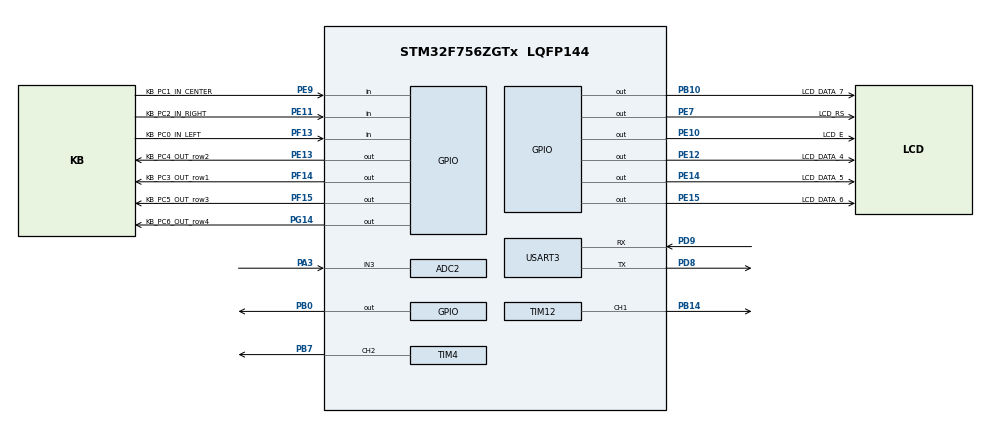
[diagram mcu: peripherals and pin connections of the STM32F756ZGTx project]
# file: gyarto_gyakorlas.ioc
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ADC1.Channel-0\#ChannelRegularConversion=ADC_CHANNEL_TEMPSENSOR
ADC1.NbrOfConversionFlag=1
ADC1.Rank-0\#ChannelRegularConversion=1
ADC1.SamplingTime-0\#ChannelRegularConversion=ADC_SAMPLETIME_3CYCLES
ADC1.master=1
ADC2.Channel-0\#ChannelRegularConversion=ADC_CHANNEL_3
ADC2.NbrOfConversionFlag=1
ADC2.Rank-0\#ChannelRegularConversion=1
ADC2.SamplingTime-0\#ChannelRegularConversion=ADC_SAMPLETIME_3CYCLES
Mcu.Family=STM32F7
Mcu.Name=STM32F756ZGTx
Mcu.Package=LQFP144
NVIC.PriorityGroup=NVIC_PRIORITYGROUP_4
NVIC.TIM4_IRQn=true\:0\:0\:false\:false\:true\:true\:true
NVIC.TIM8_BRK_TIM12_IRQn=true\:0\:0\:false\:false\:true\:true\:true
NVIC.USART3_IRQn=true\:0\:0\:false\:false\:true\:true\:true
PA3.Signal=ADCx_IN3
PB0.Signal=GPIO_Output
PB10.GPIO_Label=LCD_DATA_7
PB10.Signal=GPIO_Output
PB14.Signal=S_TIM12_CH1
PB7.Signal=S_TIM4_CH2
PD8.Mode=Asynchronous
PD8.Signal=USART3_TX
PD9.Mode=Asynchronous
PD9.Signal=USART3_RX
PE10.GPIO_Label=LCD_E
PE10.Signal=GPIO_Output
PE11.GPIO_Label=KB_PC2_IN_RIGHT
PE11.Signal=GPIO_Input
PE12.GPIO_Label=LCD_DATA_4
PE12.Signal=GPIO_Output
PE13.GPIO_Label=KB_PC4_OUT_row2
PE13.Signal=GPIO_Output
PE14.GPIO_Label=LCD_DATA_5
PE14.Signal=GPIO_Output
PE15.GPIO_Label=LCD_DATA_6
PE15.Signal=GPIO_Output
PE7.GPIO_Label=LCD_RS
PE7.Signal=GPIO_Output
PE9.GPIO_Label=KB_PC1_IN_CENTER
PE9.Signal=GPIO_Input
PF13.GPIO_Label=KB_PC0_IN_LEFT
PF13.Signal=GPIO_Input
PF14.GPIO_Label=KB_PC3_OUT_row1
PF14.Signal=GPIO_Output
PF15.GPIO_Label=KB_PC5_OUT_row3
PF15.Signal=GPIO_Output
PG14.GPIO_Label=KB_PC6_OUT_row4
PG14.Signal=GPIO_Output
ProjectManager.HeapSize=0x200
ProjectManager.StackSize=0x400
ProjectManager.TargetToolchain=TrueSTUDIO
RCC.HSE_VALUE=25000000
RCC.HSI_VALUE=16000000
RCC.LSE_VALUE=32768
RCC.USBFreq_Value=96000000
RCC.VCOOutputFreq_Value=192000000
SH.ADCx_IN3.0=ADC2_IN3,IN3
SH.S_TIM12_CH1.0=TIM12_CH1,PWM Generation1 CH1
SH.S_TIM4_CH2.0=TIM4_CH2,PWM Generation2 CH2
TIM12.Channel-PWM\ Generation1\ CH1=TIM_CHANNEL_1
TIM12.Period=100
TIM12.Prescaler=15
TIM12.Pulse-PWM\ Generation1\ CH1=5
TIM4.Channel-PWM\ Generation2\ CH2=TIM_CHANNEL_2
TIM4.Period=100
TIM4.Prescaler=15
TIM4.Pulse-PWM\ Generation2\ CH2=5
USART3.VirtualMode-Asynchronous=VM_ASYNC
VP_ADC1_TempSens_Input.Mode=IN-TempSens
board=custom

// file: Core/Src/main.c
/* USER CODE BEGIN Header */
/**
  ******************************************************************************
  * @file           : main.c
  * @brief          : Main program body
  ******************************************************************************
  * @attention
  *
  * <h2><center>&copy; Copyright (c) 2021 STMicroelectronics.
  * All rights reserved.</center></h2>
  *
  * This software component is licensed by ST under BSD 3-Clause license,
  * the "License"; You may not use this file except in compliance with the
  * License. You may obtain a copy of the License at:
  *                        opensource.org/licenses/BSD-3-Clause
  *
  ******************************************************************************
  */
/* USER CODE END Header */
#include "main.h"

/* USER CODE BEGIN Includes */
#include "lcd.h"
#include "matrix.h"
#include "String.h"
//#include "code.h"
/* USER CODE END Includes */

ADC_HandleTypeDef hadc1;
ADC_HandleTypeDef hadc2;

TIM_HandleTypeDef htim4;
TIM_HandleTypeDef htim12;

UART_HandleTypeDef huart3;

/* USER CODE BEGIN PV */

uint32_t v_adc_ch3 = 0;
double temp = 0;
uint32_t adc1_reg=0;
uint8_t egesz=1;
uint8_t valami=1;
uint16_t cnt=0;
uint32_t adc_data_reg;
uint8_t state = 0;
uint8_t tmp_state = 0;
uint8_t duty = 0;
uint8_t irany = 0;
extern uint8_t fogad=0;
uint8_t letilt =0;

char row1_string[14];
char row2_string[14];
char row3_string[14];
char row4_string[14];
char text[] = "PROGRAM Active OFF – A_OFF \n\r Program Deactive OFF – D_OFF " ;
char str[20];
uint8_t ind = 0;
uint8_t active_off=0;

/* USER CODE END PV */

void SystemClock_Config(void);
static void MX_GPIO_Init(void);
static void MX_TIM4_Init(void);
static void MX_TIM12_Init(void);
static void MX_ADC1_Init(void);
static void MX_ADC2_Init(void);
static void MX_USART3_UART_Init(void);
/* USER CODE BEGIN PFP */
void lcd_jelzes(char szoveg[])
{
	strcpy(row4_string, row3_string);
	strcpy(row3_string, row2_string);
	strcpy(row2_string, row1_string);
	strcpy(row1_string, szoveg);

	LCD_xy(0,4); LCD_string(row1_string);
	LCD_xy(0,3); LCD_string(row2_string);
	LCD_xy(0,2); LCD_string(row3_string);
	LCD_xy(0,1); LCD_string(row4_string);

}

void read_matrix(void){

	matrix_search();

	uint8_t key=get_key();

	if(key==10){ letilt=1; HAL_UART_Transmit(&huart3, text, sizeof(text), 20);
				HAL_UART_Receive_IT(&huart3, &fogad, 1);
	}

	if(active_off){
		if ((key==8) && (tmp_state!=8)){
			state,tmp_state = 8 ;
			__HAL_TIM_SET_COMPARE(&htim12, TIM_CHANNEL_1, 40); lcd_jelzes("On       ");
			HAL_UART_Transmit(&huart3, "8", sizeof("8"), 20);
		}
		return;
	}

	if(!letilt){
		switch(key){
			case 1: state = 1; duty=20; __HAL_TIM_SET_COMPARE(&htim12, TIM_CHANNEL_1, duty); lcd_jelzes("OFF    ");
					HAL_UART_Transmit(&huart3, "1", sizeof("1"), 20);
			break;
			case 2: state = 2 ; lcd_jelzes("Connecting  ");
					HAL_UART_Transmit(&huart3, "2", sizeof("2"), 20);
			break;
			case 3: state = 3 ; lcd_jelzes("Normal    ");
				HAL_UART_Transmit(&huart3, "3", sizeof("3"), 20);
			break;
			case 4: state = 4; __HAL_TIM_SET_COMPARE(&htim12, TIM_CHANNEL_1, 5); lcd_jelzes("5%     ");
					HAL_UART_Transmit(&huart3, "4", sizeof("4"), 20);
			break;
			case 5: state = 5; __HAL_TIM_SET_COMPARE(&htim12, TIM_CHANNEL_1, 50); lcd_jelzes("50%     ");
					HAL_UART_Transmit(&huart3, "5", sizeof("5"), 20);
			break;
			case 6: state = 6; __HAL_TIM_SET_COMPARE(&htim12, TIM_CHANNEL_1, 98); lcd_jelzes("98%     ");
					HAL_UART_Transmit(&huart3, "6", sizeof("6"), 20);
			break;
			case 7: state = 7;  __HAL_TIM_SET_COMPARE(&htim12, TIM_CHANNEL_1, 50); lcd_jelzes("Danger    ");
					HAL_UART_Transmit(&huart3, "7", sizeof("7"), 20);
			break;
			case 8: state = 8; __HAL_TIM_SET_COMPARE(&htim12, TIM_CHANNEL_1, 40); lcd_jelzes("On       ");
					HAL_UART_Transmit(&huart3, "8", sizeof("8"), 20);
			break;
		}

		if(state){
			tmp_state = state; state = 0;
		}
	}

}

void HAL_TIM_PeriodElapsedCallback(TIM_HandleTypeDef *htim)
{
	//HAL_ADC_Start(&hadc2); //adc conv start
	if(cnt==5000) // 500ms
	{
		switch(tmp_state)
		{
			case 1:
					if(duty)duty=duty-10;

					__HAL_TIM_SET_COMPARE(&htim12, TIM_CHANNEL_1, duty);

				break;
			//case 7: state = 7;  __HAL_TIM_SET_COMPARE(&htim12, TIM_CHANNEL_1, 50);;break;
			case 8:
				if (duty<100){
					__HAL_TIM_SET_COMPARE(&htim12, TIM_CHANNEL_1, duty);
					duty+=10;
			}
				;break;

		}

		if(tmp_state == 3)
				{
					__HAL_TIM_SET_COMPARE(&htim12, TIM_CHANNEL_1, duty);
					if(duty) duty = 0;
					else duty = 100;
				}
		cnt = 0;
	}
	// state 2 100ms
	if ((cnt % 1000) == 0)
	{
		if(tmp_state == 2)
		{
			__HAL_TIM_SET_COMPARE(&htim12, TIM_CHANNEL_1, duty);
			if(duty) duty = 0;
			else duty = 100;
		}
		// danger
		if (tmp_state==7)
		{
			if (irany) duty+=10;
			else duty-=10;

			if(duty==100) irany=0;
			if(duty==0) irany=1;

			__HAL_TIM_SET_COMPARE(&htim12, TIM_CHANNEL_1, duty);
		}
	}
	cnt++;

}

void HAL_UART_RxCpltCallback(UART_HandleTypeDef *huart)
{
	//HAL_UART_Receive_IT(&huart3, &fogad, 1);

	if(fogad==13){
		if( strcmp(str, "")==0 ){
			letilt = 0;
			ind = 0;

			/*for(int k=0; k<=19; k++){
				str[k]=0;
			} */
		}
		else{
			if(strcmp(str, "A_OFF")==0) {active_off=1; ind=0;}
			else {
				if(strcmp(str, "D_OFF")==0){
					active_off=0;
					letilt = 0;
					ind = 0;

					/*for(int k=0; k<=19; k++){
						str[k]=0;
					}*/
				}
			}
		}
	}
	else {
		str[ind] = fogad;
		ind++;
	}

	HAL_UART_Receive_IT(&huart3, &fogad, 1);
	//HAL_UART_Transmit_IT(huart, &fogad, 1);
}

/* USER CODE END PFP */

int main(void)
{

  /* MCU Configuration--------------------------------------------------------*/

  /* Reset of all peripherals, Initializes the Flash interface and the Systick. */
  HAL_Init();

  /* Configure the system clock */
  SystemClock_Config();

  /* Initialize all configured peripherals */
  MX_GPIO_Init();
  MX_TIM4_Init();
  MX_TIM12_Init();
  MX_ADC1_Init();
  MX_ADC2_Init();
  MX_USART3_UART_Init();
  /* USER CODE BEGIN 2 */
  HAL_TIM_PWM_Start_IT(&htim12, TIM_CHANNEL_1);
  //HAL_TIM_PWM_Start_IT(&htim4, TIM_CHANNEL_2);
  HAL_TIM_Base_Start_IT(&htim4);
  HAL_UART_Receive_IT(&huart3, &fogad, 1);
  HAL_ADC_Start(&hadc2);
  LCD_init();
  LCD_cmd(0x01);
  LCD_cmd(0x80);
  //LCD_xy(4,1);
  //LCD_string("hello grg");
  //uint8_t matrix_k=0;
  LCD_string("!");
  //HAL_GPIO_WritePin(GPIOB, GPIO_PIN_7, GPIO_PIN_SET);
  //HAL_GPIO_WritePin(LED_R_GPIO_Port, LED_R_Pin, GPIO_PIN_SET);
  /* USER CODE END 2 */

  /* Infinite loop */
  /* USER CODE BEGIN WHILE */
  while (1)
  {
	  read_matrix();

    /* USER CODE END WHILE */

  }
}

void SystemClock_Config(void)
{
  RCC_OscInitTypeDef RCC_OscInitStruct = {0};
  RCC_ClkInitTypeDef RCC_ClkInitStruct = {0};
  RCC_PeriphCLKInitTypeDef PeriphClkInitStruct = {0};

  /** Configure the main internal regulator output voltage
  */
  __HAL_RCC_PWR_CLK_ENABLE();
  __HAL_PWR_VOLTAGESCALING_CONFIG(PWR_REGULATOR_VOLTAGE_SCALE3);
  /** Initializes the RCC Oscillators according to the specified parameters
  * in the RCC_OscInitTypeDef structure.
  */
  RCC_OscInitStruct.OscillatorType = RCC_OSCILLATORTYPE_HSI;
  RCC_OscInitStruct.HSIState = RCC_HSI_ON;
  RCC_OscInitStruct.HSICalibrationValue = RCC_HSICALIBRATION_DEFAULT;
  RCC_OscInitStruct.PLL.PLLState = RCC_PLL_NONE;
  if (HAL_RCC_OscConfig(&RCC_OscInitStruct) != HAL_OK)
  {
    Error_Handler();
  }
  /** Initializes the CPU, AHB and APB buses clocks
  */
  RCC_ClkInitStruct.ClockType = RCC_CLOCKTYPE_HCLK|RCC_CLOCKTYPE_SYSCLK
                              |RCC_CLOCKTYPE_PCLK1|RCC_CLOCKTYPE_PCLK2;
  RCC_ClkInitStruct.SYSCLKSource = RCC_SYSCLKSOURCE_HSI;
  RCC_ClkInitStruct.AHBCLKDivider = RCC_SYSCLK_DIV1;
  RCC_ClkInitStruct.APB1CLKDivider = RCC_HCLK_DIV1;
  RCC_ClkInitStruct.APB2CLKDivider = RCC_HCLK_DIV1;

  if (HAL_RCC_ClockConfig(&RCC_ClkInitStruct, FLASH_LATENCY_0) != HAL_OK)
  {
    Error_Handler();
  }
  PeriphClkInitStruct.PeriphClockSelection = RCC_PERIPHCLK_USART3;
  PeriphClkInitStruct.Usart3ClockSelection = RCC_USART3CLKSOURCE_PCLK1;
  if (HAL_RCCEx_PeriphCLKConfig(&PeriphClkInitStruct) != HAL_OK)
  {
    Error_Handler();
  }
}

static void MX_ADC1_Init(void)
{

  ADC_ChannelConfTypeDef sConfig = {0};

  /** Configure the global features of the ADC (Clock, Resolution, Data Alignment and number of conversion)
  */
  hadc1.Instance = ADC1;
  hadc1.Init.ClockPrescaler = ADC_CLOCK_SYNC_PCLK_DIV2;
  hadc1.Init.Resolution = ADC_RESOLUTION_12B;
  hadc1.Init.ScanConvMode = ADC_SCAN_DISABLE;
  hadc1.Init.ContinuousConvMode = DISABLE;
  hadc1.Init.DiscontinuousConvMode = DISABLE;
  hadc1.Init.ExternalTrigConvEdge = ADC_EXTERNALTRIGCONVEDGE_NONE;
  hadc1.Init.ExternalTrigConv = ADC_SOFTWARE_START;
  hadc1.Init.DataAlign = ADC_DATAALIGN_RIGHT;
  hadc1.Init.NbrOfConversion = 1;
  hadc1.Init.DMAContinuousRequests = DISABLE;
  hadc1.Init.EOCSelection = ADC_EOC_SINGLE_CONV;
  if (HAL_ADC_Init(&hadc1) != HAL_OK)
  {
    Error_Handler();
  }
  /** Configure for the selected ADC regular channel its corresponding rank in the sequencer and its sample time.
  */
  sConfig.Channel = ADC_CHANNEL_TEMPSENSOR;
  sConfig.Rank = ADC_REGULAR_RANK_1;
  sConfig.SamplingTime = ADC_SAMPLETIME_3CYCLES;
  if (HAL_ADC_ConfigChannel(&hadc1, &sConfig) != HAL_OK)
  {
    Error_Handler();
  }

}

static void MX_ADC2_Init(void)
{

  ADC_ChannelConfTypeDef sConfig = {0};

  /** Configure the global features of the ADC (Clock, Resolution, Data Alignment and number of conversion)
  */
  hadc2.Instance = ADC2;
  hadc2.Init.ClockPrescaler = ADC_CLOCK_SYNC_PCLK_DIV2;
  hadc2.Init.Resolution = ADC_RESOLUTION_12B;
  hadc2.Init.ScanConvMode = ADC_SCAN_DISABLE;
  hadc2.Init.ContinuousConvMode = DISABLE;
  hadc2.Init.DiscontinuousConvMode = DISABLE;
  hadc2.Init.ExternalTrigConvEdge = ADC_EXTERNALTRIGCONVEDGE_NONE;
  hadc2.Init.ExternalTrigConv = ADC_SOFTWARE_START;
  hadc2.Init.DataAlign = ADC_DATAALIGN_RIGHT;
  hadc2.Init.NbrOfConversion = 1;
  hadc2.Init.DMAContinuousRequests = DISABLE;
  hadc2.Init.EOCSelection = ADC_EOC_SINGLE_CONV;
  if (HAL_ADC_Init(&hadc2) != HAL_OK)
  {
    Error_Handler();
  }
  /** Configure for the selected ADC regular channel its corresponding rank in the sequencer and its sample time.
  */
  sConfig.Channel = ADC_CHANNEL_3;
  sConfig.Rank = ADC_REGULAR_RANK_1;
  sConfig.SamplingTime = ADC_SAMPLETIME_3CYCLES;
  if (HAL_ADC_ConfigChannel(&hadc2, &sConfig) != HAL_OK)
  {
    Error_Handler();
  }

}

static void MX_TIM4_Init(void)
{

  TIM_MasterConfigTypeDef sMasterConfig = {0};
  TIM_OC_InitTypeDef sConfigOC = {0};

  htim4.Instance = TIM4;
  htim4.Init.Prescaler = 15;
  htim4.Init.CounterMode = TIM_COUNTERMODE_UP;
  htim4.Init.Period = 100;
  htim4.Init.ClockDivision = TIM_CLOCKDIVISION_DIV1;
  htim4.Init.AutoReloadPreload = TIM_AUTORELOAD_PRELOAD_DISABLE;
  if (HAL_TIM_PWM_Init(&htim4) != HAL_OK)
  {
    Error_Handler();
  }
  sMasterConfig.MasterOutputTrigger = TIM_TRGO_RESET;
  sMasterConfig.MasterSlaveMode = TIM_MASTERSLAVEMODE_DISABLE;
  if (HAL_TIMEx_MasterConfigSynchronization(&htim4, &sMasterConfig) != HAL_OK)
  {
    Error_Handler();
  }
  sConfigOC.OCMode = TIM_OCMODE_PWM1;
  sConfigOC.Pulse = 5;
  sConfigOC.OCPolarity = TIM_OCPOLARITY_HIGH;
  sConfigOC.OCFastMode = TIM_OCFAST_DISABLE;
  if (HAL_TIM_PWM_ConfigChannel(&htim4, &sConfigOC, TIM_CHANNEL_2) != HAL_OK)
  {
    Error_Handler();
  }
  HAL_TIM_MspPostInit(&htim4);

}

static void MX_TIM12_Init(void)
{

  TIM_OC_InitTypeDef sConfigOC = {0};

  htim12.Instance = TIM12;
  htim12.Init.Prescaler = 15;
  htim12.Init.CounterMode = TIM_COUNTERMODE_UP;
  htim12.Init.Period = 100;
  htim12.Init.ClockDivision = TIM_CLOCKDIVISION_DIV1;
  htim12.Init.AutoReloadPreload = TIM_AUTORELOAD_PRELOAD_DISABLE;
  if (HAL_TIM_PWM_Init(&htim12) != HAL_OK)
  {
    Error_Handler();
  }
  sConfigOC.OCMode = TIM_OCMODE_PWM1;
  sConfigOC.Pulse = 5;
  sConfigOC.OCPolarity = TIM_OCPOLARITY_HIGH;
  sConfigOC.OCFastMode = TIM_OCFAST_DISABLE;
  if (HAL_TIM_PWM_ConfigChannel(&htim12, &sConfigOC, TIM_CHANNEL_1) != HAL_OK)
  {
    Error_Handler();
  }
  HAL_TIM_MspPostInit(&htim12);

}

static void MX_USART3_UART_Init(void)
{

  huart3.Instance = USART3;
  huart3.Init.BaudRate = 115200;
  huart3.Init.WordLength = UART_WORDLENGTH_8B;
  huart3.Init.StopBits = UART_STOPBITS_1;
  huart3.Init.Parity = UART_PARITY_NONE;
  huart3.Init.Mode = UART_MODE_TX_RX;
  huart3.Init.HwFlowCtl = UART_HWCONTROL_NONE;
  huart3.Init.OverSampling = UART_OVERSAMPLING_16;
  huart3.Init.OneBitSampling = UART_ONE_BIT_SAMPLE_DISABLE;
  huart3.AdvancedInit.AdvFeatureInit = UART_ADVFEATURE_NO_INIT;
  if (HAL_UART_Init(&huart3) != HAL_OK)
  {
    Error_Handler();
  }

}

static void MX_GPIO_Init(void)
{
  GPIO_InitTypeDef GPIO_InitStruct = {0};

  /* GPIO Ports Clock Enable */
  __HAL_RCC_GPIOA_CLK_ENABLE();
  __HAL_RCC_GPIOB_CLK_ENABLE();
  __HAL_RCC_GPIOF_CLK_ENABLE();
  __HAL_RCC_GPIOE_CLK_ENABLE();
  __HAL_RCC_GPIOD_CLK_ENABLE();
  __HAL_RCC_GPIOG_CLK_ENABLE();

  /*Configure GPIO pin Output Level */
  HAL_GPIO_WritePin(GPIOB, GPIO_PIN_0|LCD_DATA_7_Pin, GPIO_PIN_RESET);

  /*Configure GPIO pin Output Level */
  HAL_GPIO_WritePin(GPIOF, KB_PC3_OUT_row1_Pin|KB_PC5_OUT_row3_Pin, GPIO_PIN_RESET);

  /*Configure GPIO pin Output Level */
  HAL_GPIO_WritePin(GPIOE, LCD_RS_Pin|LCD_E_Pin|LCD_DATA_4_Pin|KB_PC4_OUT_row2_Pin
                          |LCD_DATA_5_Pin|LCD_DATA_6_Pin, GPIO_PIN_RESET);

  /*Configure GPIO pin Output Level */
  HAL_GPIO_WritePin(KB_PC6_OUT_row4_GPIO_Port, KB_PC6_OUT_row4_Pin, GPIO_PIN_RESET);

  /*Configure GPIO pins : PB0 LCD_DATA_7_Pin */
  GPIO_InitStruct.Pin = GPIO_PIN_0|LCD_DATA_7_Pin;
  GPIO_InitStruct.Mode = GPIO_MODE_OUTPUT_PP;
  GPIO_InitStruct.Pull = GPIO_NOPULL;
  GPIO_InitStruct.Speed = GPIO_SPEED_FREQ_LOW;
  HAL_GPIO_Init(GPIOB, &GPIO_InitStruct);

  /*Configure GPIO pin : KB_PC0_IN_LEFT_Pin */
  GPIO_InitStruct.Pin = KB_PC0_IN_LEFT_Pin;
  GPIO_InitStruct.Mode = GPIO_MODE_INPUT;
  GPIO_InitStruct.Pull = GPIO_NOPULL;
  HAL_GPIO_Init(KB_PC0_IN_LEFT_GPIO_Port, &GPIO_InitStruct);

  /*Configure GPIO pins : KB_PC3_OUT_row1_Pin KB_PC5_OUT_row3_Pin */
  GPIO_InitStruct.Pin = KB_PC3_OUT_row1_Pin|KB_PC5_OUT_row3_Pin;
  GPIO_InitStruct.Mode = GPIO_MODE_OUTPUT_PP;
  GPIO_InitStruct.Pull = GPIO_NOPULL;
  GPIO_InitStruct.Speed = GPIO_SPEED_FREQ_LOW;
  HAL_GPIO_Init(GPIOF, &GPIO_InitStruct);

  /*Configure GPIO pins : LCD_RS_Pin LCD_E_Pin LCD_DATA_4_Pin KB_PC4_OUT_row2_Pin
                           LCD_DATA_5_Pin LCD_DATA_6_Pin */
  GPIO_InitStruct.Pin = LCD_RS_Pin|LCD_E_Pin|LCD_DATA_4_Pin|KB_PC4_OUT_row2_Pin
                          |LCD_DATA_5_Pin|LCD_DATA_6_Pin;
  GPIO_InitStruct.Mode = GPIO_MODE_OUTPUT_PP;
  GPIO_InitStruct.Pull = GPIO_NOPULL;
  GPIO_InitStruct.Speed = GPIO_SPEED_FREQ_LOW;
  HAL_GPIO_Init(GPIOE, &GPIO_InitStruct);

  /*Configure GPIO pins : KB_PC1_IN_CENTER_Pin KB_PC2_IN_RIGHT_Pin */
  GPIO_InitStruct.Pin = KB_PC1_IN_CENTER_Pin|KB_PC2_IN_RIGHT_Pin;
  GPIO_InitStruct.Mode = GPIO_MODE_INPUT;
  GPIO_InitStruct.Pull = GPIO_NOPULL;
  HAL_GPIO_Init(GPIOE, &GPIO_InitStruct);

  /*Configure GPIO pin : KB_PC6_OUT_row4_Pin */
  GPIO_InitStruct.Pin = KB_PC6_OUT_row4_Pin;
  GPIO_InitStruct.Mode = GPIO_MODE_OUTPUT_PP;
  GPIO_InitStruct.Pull = GPIO_NOPULL;
  GPIO_InitStruct.Speed = GPIO_SPEED_FREQ_LOW;
  HAL_GPIO_Init(KB_PC6_OUT_row4_GPIO_Port, &GPIO_InitStruct);

}

void Error_Handler(void)
{
  __disable_irq();
  while (1)
  {
  }
}

/************************ (C) COPYRIGHT STMicroelectronics *****END OF FILE****/
